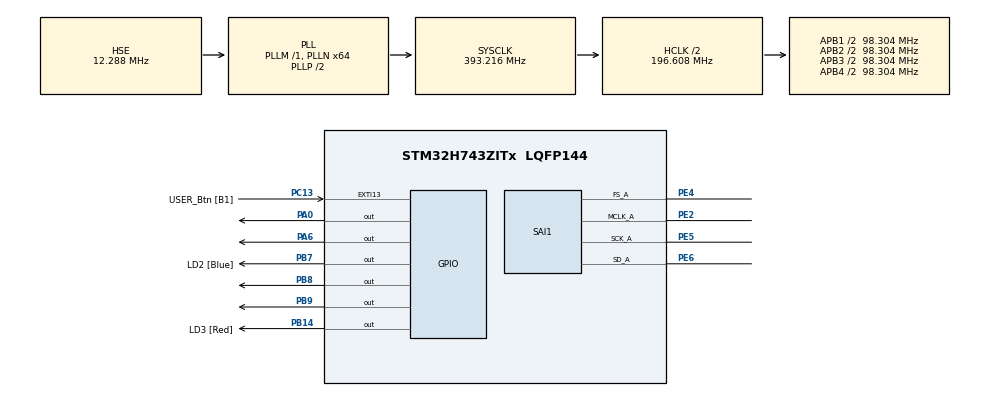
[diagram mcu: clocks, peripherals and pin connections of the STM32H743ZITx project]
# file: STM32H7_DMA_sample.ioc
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CORTEX_M7.CPU_DCache=Enabled
CORTEX_M7.CPU_ICache=Enabled
CORTEX_M7.MPU_Control=__NULL
Dma.Request0=SAI1_A
Dma.SAI1_A.0.Direction=DMA_MEMORY_TO_PERIPH
Dma.SAI1_A.0.EventEnable=DISABLE
Dma.SAI1_A.0.FIFOMode=DMA_FIFOMODE_ENABLE
Dma.SAI1_A.0.FIFOThreshold=DMA_FIFO_THRESHOLD_FULL
Dma.SAI1_A.0.Instance=DMA2_Stream6
Dma.SAI1_A.0.MemBurst=DMA_MBURST_SINGLE
Dma.SAI1_A.0.MemDataAlignment=DMA_MDATAALIGN_HALFWORD
Dma.SAI1_A.0.MemInc=DMA_MINC_ENABLE
Dma.SAI1_A.0.Mode=DMA_CIRCULAR
Dma.SAI1_A.0.PeriphBurst=DMA_PBURST_SINGLE
Dma.SAI1_A.0.PeriphDataAlignment=DMA_PDATAALIGN_HALFWORD
Dma.SAI1_A.0.PeriphInc=DMA_PINC_DISABLE
Dma.SAI1_A.0.Polarity=HAL_DMAMUX_REQ_GEN_RISING
Dma.SAI1_A.0.Priority=DMA_PRIORITY_VERY_HIGH
Dma.SAI1_A.0.RequestNumber=1
Dma.SAI1_A.0.SyncEnable=DISABLE
Dma.SAI1_A.0.SyncPolarity=HAL_DMAMUX_SYNC_NO_EVENT
Dma.SAI1_A.0.SyncRequestNumber=1
Mcu.Family=STM32H7
Mcu.Name=STM32H743ZITx
Mcu.Package=LQFP144
NVIC.DMA2_Stream6_IRQn=true\:0\:0\:true\:false\:true\:false
NVIC.PriorityGroup=NVIC_PRIORITYGROUP_2
NVIC.TIM7_IRQn=true\:0\:0\:true\:false\:true\:true
PA0-WKUP.Signal=GPIO_Output
PA10.GPIO_Label=USB_ID
PA10.Signal=USB_OTG_FS_ID
PA11.GPIO_Label=USB_DM
PA11.Signal=USB_OTG_FS_DM
PA12.GPIO_Label=USB_DP
PA12.Signal=USB_OTG_FS_DP
PA13.GPIO_Label=TMS
PA13.Mode=Trace_Asynchronous_SW
PA13.Signal=SYS_JTMS-SWDIO
PA14.GPIO_Label=TCK
PA14.Mode=Trace_Asynchronous_SW
PA14.Signal=SYS_JTCK-SWCLK
PA6.Signal=GPIO_Output
PA8.GPIO_Label=USB_SOF [TP1]
PA8.Signal=USB_OTG_FS_SOF
PA9.GPIO_Label=USB_VBUS
PA9.Signal=USB_OTG_FS_VBUS
PB14.GPIO_Label=LD3 [Red]
PB14.Signal=GPIO_Output
PB3.GPIO_Label=SWO
PB3.Mode=Trace_Asynchronous_SW
PB3.Signal=SYS_JTDO-SWO
PB7.GPIO_Label=LD2 [Blue]
PB7.Signal=GPIO_Output
PB8.Signal=GPIO_Output
PB9.Signal=GPIO_Output
PC13.GPIO_Label=USER_Btn [B1]
PC13.Signal=GPXTI13
PC14-OSC32_IN.Signal=RCC_OSC32_IN
PC15-OSC32_OUT.Signal=RCC_OSC32_OUT
PD8.Signal=USART3_TX
PD9.GPIO_Label=STLK_TX [STM32F103CBT6_PA2]
PD9.Signal=USART3_RX
PE2.GPIO_Speed=GPIO_SPEED_FREQ_VERY_HIGH
PE2.Mode=SAI_A_MasterWithClock
PE2.Signal=SAI1_MCLK_A
PE4.GPIO_Speed=GPIO_SPEED_FREQ_VERY_HIGH
PE4.Mode=SAI_A_MasterWithClock
PE4.Signal=SAI1_FS_A
PE5.GPIO_Speed=GPIO_SPEED_FREQ_VERY_HIGH
PE5.Mode=SAI_A_MasterWithClock
PE5.Signal=SAI1_SCK_A
PE6.GPIO_Speed=GPIO_SPEED_FREQ_VERY_HIGH
PE6.Mode=SAI_A_MasterWithClock
PE6.Signal=SAI1_SD_A
PH0-OSC_IN.GPIO_Label=MCO
PH0-OSC_IN.Mode=HSE-External-Oscillator
PH0-OSC_IN.Signal=RCC_OSC_IN
PH1-OSC_OUT.Mode=HSE-External-Oscillator
PH1-OSC_OUT.Signal=RCC_OSC_OUT
ProjectManager.HeapSize=0x200
ProjectManager.StackSize=0x400
ProjectManager.TargetToolchain=SW4STM32
RCC.48MHZClocksFreq_Value=24000000
RCC.ADCFreq_Value=98304000
RCC.AHBFreq_Value=16000000
RCC.APB1CLKDivider=RCC_HCLK_DIV2
RCC.APB1Freq_Value=98304000
RCC.APB1TimFreq_Value=16000000
RCC.APB2Freq_Value=98304000
RCC.APB2TimFreq_Value=16000000
RCC.APB3Freq_Value=98304000
RCC.APB4Freq_Value=98304000
RCC.CortexFreq_Value=393216000
RCC.D1PPRE=RCC_APB3_DIV2
RCC.D2PPRE1=RCC_APB1_DIV2
RCC.D2PPRE2=RCC_APB2_DIV2
RCC.D3PPRE=RCC_APB4_DIV2
RCC.DIVM1=1
RCC.DIVM2=1
RCC.DIVN1=64
RCC.DIVN2=16
RCC.HCLKFreq_Value=196608000
RCC.HPRE=RCC_HCLK_DIV2
RCC.HSE_VALUE=12288000
RCC.HSI_VALUE=64000000
RCC.LSE_VALUE=32768
RCC.PLLMUL=RCC_PLL_MUL9
RCC.PLLSourceVirtual=RCC_PLLSOURCE_HSE
RCC.PRESCALERUSB=RCC_USBCLKSOURCE_PLL_DIV1_5
RCC.SAI1CLockSelection=RCC_SAI1CLKSOURCE_PLL2
RCC.SPDIFEnable-ClockTree=true
RCC.SYSCLKFreq_VALUE=393216000
RCC.SYSCLKSource=RCC_SYSCLKSOURCE_PLLCLK
RCC.SYSCLKSourceVirtual=RCC_SYSCLKSOURCE_PLLCLK
RCC.USBFreq_Value=393216000
RCC.VCOOutputFreq_Value=192000000
SAI1.AudioFrequency-SAI_A_MasterWithClock=SAI_AUDIO_FREQUENCY_32K
SAI1.BasicDataSize-SAI_A_MasterWithClock=SAI_PROTOCOL_DATASIZE_16BITEXTENDED
SAI1.BasicProtocol-SAI_A_MasterWithClock=SAI_I2S_STANDARD
SAI1.BasicSlotNumber-SAI_A_MasterWithClock=2
SAI1.ErrorAudioFreq-SAI_A_MasterWithClock=-2.34 %
SAI1.FIFOThreshold-SAI_A_MasterWithClock=SAI_FIFOTHRESHOLD_FULL
SAI1.InitProtocol-SAI_A_MasterWithClock=Enable
SAI1.Instance-SAI_A_MasterWithClock=SAI$Index_Block_A
SAI1.MClockEnable-SAI_A_MasterWithClock=SAI_MASTERCLOCK_ENABLE
SAI1.OutputDrive-SAI_A_MasterWithClock=SAI_OUTPUTDRIVE_DISABLE
SAI1.RealAudioFreq-SAI_A_MasterWithClock=31.25 KHz
SAI1.Synchro-SAI_A_MasterWithClock=SAI_ASYNCHRONOUS
SAI1.VirtualMode-SAI_A_MasterWithClock=VM_MASTER
SAI1.VirtualProtocol-SAI_A_BASIC=VM_BASIC_PROTOCOL
TIM7.Period=63
TIM7.Prescaler=95
VP_SAI1_VP_$IpInstance_SAIA_SAI_BASIC.Mode=SAI_A_BASIC
VP_TIM7_VS_ClockSourceINT.Mode=Enable_Timer
board=NUCLEO-H743ZI

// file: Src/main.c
/**
  ******************************************************************************
  * File Name          : main.c
  * Description        : Main program body
  ******************************************************************************
  ** This notice applies to any and all portions of this file
  * that are not between comment pairs USER CODE BEGIN and
  * USER CODE END. Other portions of this file, whether
  * inserted by the user or by software development tools
  * are owned by their respective copyright owners.
  *
  * COPYRIGHT(c) 2017 STMicroelectronics
  *
  * Redistribution and use in source and binary forms, with or without modification,
  * are permitted provided that the following conditions are met:
  *   1. Redistributions of source code must retain the above copyright notice,
  *      this list of conditions and the following disclaimer.
  *   2. Redistributions in binary form must reproduce the above copyright notice,
  *      this list of conditions and the following disclaimer in the documentation
  *      and/or other materials provided with the distribution.
  *   3. Neither the name of STMicroelectronics nor the names of its contributors
  *      may be used to endorse or promote products derived from this software
  *      without specific prior written permission.
  *
  * THIS SOFTWARE IS PROVIDED BY THE COPYRIGHT HOLDERS AND CONTRIBUTORS "AS IS"
  * AND ANY EXPRESS OR IMPLIED WARRANTIES, INCLUDING, BUT NOT LIMITED TO, THE
  * IMPLIED WARRANTIES OF MERCHANTABILITY AND FITNESS FOR A PARTICULAR PURPOSE ARE
  * DISCLAIMED. IN NO EVENT SHALL THE COPYRIGHT HOLDER OR CONTRIBUTORS BE LIABLE
  * FOR ANY DIRECT, INDIRECT, INCIDENTAL, SPECIAL, EXEMPLARY, OR CONSEQUENTIAL
  * DAMAGES (INCLUDING, BUT NOT LIMITED TO, PROCUREMENT OF SUBSTITUTE GOODS OR
  * SERVICES; LOSS OF USE, DATA, OR PROFITS; OR BUSINESS INTERRUPTION) HOWEVER
  * CAUSED AND ON ANY THEORY OF LIABILITY, WHETHER IN CONTRACT, STRICT LIABILITY,
  * OR TORT (INCLUDING NEGLIGENCE OR OTHERWISE) ARISING IN ANY WAY OUT OF THE USE
  * OF THIS SOFTWARE, EVEN IF ADVISED OF THE POSSIBILITY OF SUCH DAMAGE.
  *
  ******************************************************************************
  */

#include "main.h"
#include "stm32h7xx_hal.h"

/* USER CODE BEGIN Includes */

#define __ATTR_RAM_D2	__attribute__ ((section(".RAM_D2"))) __attribute__ ((aligned (4)))

//for output buffer
#define BUFSIZE (128)  //need 2*n
#define SAMPLE_NUM (256)

/* USER CODE END Includes */

SAI_HandleTypeDef hsai_BlockA1;
DMA_HandleTypeDef hdma_sai1_a;

TIM_HandleTypeDef htim7;

/* USER CODE BEGIN PV */
/* Private variables ---------------------------------------------------------*/

const uint16_t SineTable[SAMPLE_NUM]
							={32768, 33572, 34376, 35178, 35980, 36779, 37576, 38370, 39161, 39947, 40730, 41507, 42280, 43046, 43807, 44561, 45307, 46047, 46778, 47500, 48214, 48919, 49614, 50298, 50972, 51636, 52287, 52927, 53555, 54171, 54773, 55362, 55938, 56499, 57047, 57579, 58097, 58600, 59087, 59558, 60013, 60451, 60873, 61278, 61666, 62036, 62389, 62724, 63041, 63339, 63620, 63881, 64124, 64348, 64553, 64739, 64905, 65053, 65180, 65289, 65377, 65446, 65496, 65525, 65535, 65525, 65496, 65446, 65377, 65289, 65180, 65053, 64905, 64739, 64553, 64348, 64124, 63881, 63620, 63339, 63041, 62724, 62389, 62036, 61666, 61278, 60873, 60451, 60013, 59558, 59087, 58600, 58097, 57579, 57047, 56499, 55938, 55362, 54773, 54171, 53555, 52927, 52287, 51636, 50972, 50298, 49614, 48919, 48214, 47500, 46778, 46047, 45307, 44561, 43807, 43046, 42280, 41507, 40730, 39947, 39161, 38370, 37576, 36779, 35980, 35178, 34376, 33572, 32768, 31964, 31160, 30358, 29556, 28757, 27960, 27166, 26375, 25589, 24806, 24029, 23256, 22490, 21729, 20975, 20229, 19489, 18758, 18036, 17322, 16617, 15922, 15238, 14564, 13900, 13249, 12609, 11981, 11365, 10763, 10174, 9598, 9037, 8489, 7957, 7439, 6936, 6449, 5978, 5523, 5085, 4663, 4258, 3870, 3500, 3147, 2812, 2495, 2197, 1916, 1655, 1412, 1188, 983, 797, 631, 483, 356, 247, 159, 90, 40, 11, 1, 11, 40, 90, 159, 247, 356, 483, 631, 797, 983, 1188, 1412, 1655, 1916, 2197, 2495, 2812, 3147, 3500, 3870, 4258, 4663, 5085, 5523, 5978, 6449, 6936, 7439, 7957, 8489, 9037, 9598, 10174, 10763, 11365, 11981, 12609, 13249, 13900, 14564, 15238, 15922, 16617, 17322, 18036, 18758, 19489, 20229, 20975, 21729, 22490, 23256, 24029, 24806, 25589, 26375, 27166, 27960, 28757, 29556, 30358, 31160, 31964, };
volatile uint32_t buffer_idx=0, table_idx=0;
uint16_t buffer[BUFSIZE * 2] __ATTR_RAM_D2;

/* USER CODE END PV */

void SystemClock_Config(void);
static void MX_GPIO_Init(void);
static void MX_DMA_Init(void);
static void MX_TIM7_Init(void);
static void MX_SAI1_Init(void);

/* USER CODE BEGIN PFP */
/* Private function prototypes -----------------------------------------------*/
void MPU_Conf();

/* USER CODE END PFP */

/* USER CODE BEGIN 0 */

void HAL_TIM_PeriodElapsedCallback(TIM_HandleTypeDef *htim)
{
	if(htim->Instance == TIM7)
	{
		//Update output buffer
		buffer[buffer_idx] = SineTable[table_idx] >> 1;	//right channel: output sine wave.
		buffer[buffer_idx+1] = 0; //left cahnnel :Mute.

		buffer_idx+=2;
		table_idx++;

		buffer_idx &= (BUFSIZE*2 -1);
		table_idx &= (SAMPLE_NUM - 1);

	}

}

/* USER CODE END 0 */

int main(void)
{

  /* USER CODE BEGIN 1 */

  //This is for DMA area protection from cache.
  MPU_Conf();

  /* USER CODE END 1 */

  /* Enable I-Cache-------------------------------------------------------------*/
  SCB_EnableICache();

  /* Enable D-Cache-------------------------------------------------------------*/
  SCB_EnableDCache();

  /* MCU Configuration----------------------------------------------------------*/

  /* Reset of all peripherals, Initializes the Flash interface and the Systick. */
  HAL_Init();

  /* Configure the system clock */
  SystemClock_Config();

  /* Initialize all configured peripherals */
  MX_GPIO_Init();
  MX_DMA_Init();
  MX_TIM7_Init();
  MX_SAI1_Init();

  /* USER CODE BEGIN 2 */

  //Init buffer

  for(uint16_t i=0; i<BUFSIZE * 2; i++){
	  buffer[i] = 0;
  }

  //start sound generate timer.
  HAL_TIM_Base_Start_IT(&htim7);

  while(1)
  {
	  if((buffer_idx) > ( BUFSIZE ) ){ // waiting for half-fill of buffer[].

		  if(HAL_OK != HAL_SAI_Transmit_DMA(&hsai_BlockA1, (uint8_t *)(buffer), BUFSIZE * 2))
		  {
			  Error_Handler();
		  }
		  break;
	  }
  }

  /* USER CODE END 2 */

  /* Infinite loop */
  while (1)
  {

  }

}

/** System Clock Configuration
*/
void SystemClock_Config(void)
{

  RCC_OscInitTypeDef RCC_OscInitStruct;
  RCC_ClkInitTypeDef RCC_ClkInitStruct;
  RCC_PeriphCLKInitTypeDef PeriphClkInitStruct;

    /**Supply configuration update enable
    */
  MODIFY_REG(PWR->CR3, PWR_CR3_SCUEN, 0);

    /**Configure the main internal regulator output voltage
    */
  __HAL_PWR_VOLTAGESCALING_CONFIG(PWR_REGULATOR_VOLTAGE_SCALE1);

  while ((PWR->D3CR & (PWR_D3CR_VOSRDY)) != PWR_D3CR_VOSRDY)
  {

  }
    /**Macro to configure the PLL clock source
    */
  __HAL_RCC_PLL_PLLSOURCE_CONFIG(RCC_PLLSOURCE_HSE);

    /**Initializes the CPU, AHB and APB busses clocks
    */
  RCC_OscInitStruct.OscillatorType = RCC_OSCILLATORTYPE_HSE;
  RCC_OscInitStruct.HSEState = RCC_HSE_ON;
  RCC_OscInitStruct.PLL.PLLState = RCC_PLL_ON;
  RCC_OscInitStruct.PLL.PLLSource = RCC_PLLSOURCE_HSE;
  RCC_OscInitStruct.PLL.PLLM = 1;
  RCC_OscInitStruct.PLL.PLLN = 64;
  RCC_OscInitStruct.PLL.PLLP = 2;
  RCC_OscInitStruct.PLL.PLLQ = 2;
  RCC_OscInitStruct.PLL.PLLR = 2;
  RCC_OscInitStruct.PLL.PLLRGE = RCC_PLL1VCIRANGE_3;
  RCC_OscInitStruct.PLL.PLLVCOSEL = RCC_PLL1VCOWIDE;
  RCC_OscInitStruct.PLL.PLLFRACN = 0;
  if (HAL_RCC_OscConfig(&RCC_OscInitStruct) != HAL_OK)
  {
    _Error_Handler(__FILE__, __LINE__);
  }

    /**Initializes the CPU, AHB and APB busses clocks
    */
  RCC_ClkInitStruct.ClockType = RCC_CLOCKTYPE_HCLK|RCC_CLOCKTYPE_SYSCLK
                              |RCC_CLOCKTYPE_PCLK1|RCC_CLOCKTYPE_PCLK2
                              |RCC_CLOCKTYPE_D3PCLK1|RCC_CLOCKTYPE_D1PCLK1;
  RCC_ClkInitStruct.SYSCLKSource = RCC_SYSCLKSOURCE_PLLCLK;
  RCC_ClkInitStruct.SYSCLKDivider = RCC_SYSCLK_DIV1;
  RCC_ClkInitStruct.AHBCLKDivider = RCC_HCLK_DIV2;
  RCC_ClkInitStruct.APB3CLKDivider = RCC_APB3_DIV2;
  RCC_ClkInitStruct.APB1CLKDivider = RCC_APB1_DIV2;
  RCC_ClkInitStruct.APB2CLKDivider = RCC_APB2_DIV2;
  RCC_ClkInitStruct.APB4CLKDivider = RCC_APB4_DIV2;

  if (HAL_RCC_ClockConfig(&RCC_ClkInitStruct, FLASH_LATENCY_2) != HAL_OK)
  {
    _Error_Handler(__FILE__, __LINE__);
  }

  PeriphClkInitStruct.PeriphClockSelection = RCC_PERIPHCLK_SAI1;
  PeriphClkInitStruct.PLL2.PLL2M = 1;
  PeriphClkInitStruct.PLL2.PLL2N = 16;
  PeriphClkInitStruct.PLL2.PLL2P = 2;
  PeriphClkInitStruct.PLL2.PLL2Q = 2;
  PeriphClkInitStruct.PLL2.PLL2R = 2;
  PeriphClkInitStruct.PLL2.PLL2RGE = RCC_PLL2VCIRANGE_3;
  PeriphClkInitStruct.PLL2.PLL2VCOSEL = RCC_PLL2VCOWIDE;
  PeriphClkInitStruct.PLL2.PLL2FRACN = 0;
  PeriphClkInitStruct.Sai1ClockSelection = RCC_SAI1CLKSOURCE_PLL2;
  if (HAL_RCCEx_PeriphCLKConfig(&PeriphClkInitStruct) != HAL_OK)
  {
    _Error_Handler(__FILE__, __LINE__);
  }

    /**Configure the Systick interrupt time
    */
  HAL_SYSTICK_Config(SystemCoreClock/1000);

    /**Configure the Systick
    */
  HAL_SYSTICK_CLKSourceConfig(SYSTICK_CLKSOURCE_HCLK);

  /* SysTick_IRQn interrupt configuration */
  HAL_NVIC_SetPriority(SysTick_IRQn, 0, 0);
}

/* SAI1 init function */
static void MX_SAI1_Init(void)
{

  hsai_BlockA1.Instance = SAI1_Block_A;
  hsai_BlockA1.Init.AudioMode = SAI_MODEMASTER_TX;
  hsai_BlockA1.Init.Synchro = SAI_ASYNCHRONOUS;
  hsai_BlockA1.Init.OutputDrive = SAI_OUTPUTDRIVE_DISABLE;
  hsai_BlockA1.Init.NoDivider = SAI_MASTERDIVIDER_ENABLE;
  hsai_BlockA1.Init.FIFOThreshold = SAI_FIFOTHRESHOLD_FULL;
  hsai_BlockA1.Init.AudioFrequency = SAI_AUDIO_FREQUENCY_32K;
  hsai_BlockA1.Init.SynchroExt = SAI_SYNCEXT_DISABLE;
  hsai_BlockA1.Init.MonoStereoMode = SAI_STEREOMODE;
  hsai_BlockA1.Init.CompandingMode = SAI_NOCOMPANDING;
  hsai_BlockA1.Init.TriState = SAI_OUTPUT_NOTRELEASED;
  if (HAL_SAI_InitProtocol(&hsai_BlockA1, SAI_I2S_STANDARD, SAI_PROTOCOL_DATASIZE_16BITEXTENDED, 2) != HAL_OK)
  {
    _Error_Handler(__FILE__, __LINE__);
  }

}

/* TIM7 init function */
static void MX_TIM7_Init(void)
{

  TIM_MasterConfigTypeDef sMasterConfig;

  htim7.Instance = TIM7;
  htim7.Init.Prescaler = 95;
  htim7.Init.CounterMode = TIM_COUNTERMODE_UP;
  htim7.Init.Period = 63;
  htim7.Init.AutoReloadPreload = TIM_AUTORELOAD_PRELOAD_DISABLE;
  if (HAL_TIM_Base_Init(&htim7) != HAL_OK)
  {
    _Error_Handler(__FILE__, __LINE__);
  }

  sMasterConfig.MasterOutputTrigger = TIM_TRGO_RESET;
  sMasterConfig.MasterSlaveMode = TIM_MASTERSLAVEMODE_DISABLE;
  if (HAL_TIMEx_MasterConfigSynchronization(&htim7, &sMasterConfig) != HAL_OK)
  {
    _Error_Handler(__FILE__, __LINE__);
  }

}

static void MX_DMA_Init(void)
{
  /* DMA controller clock enable */
  __HAL_RCC_DMA2_CLK_ENABLE();

  /* DMA interrupt init */
  /* DMA2_Stream6_IRQn interrupt configuration */
  HAL_NVIC_SetPriority(DMA2_Stream6_IRQn, 0, 0);
  HAL_NVIC_EnableIRQ(DMA2_Stream6_IRQn);

}

/** Configure pins as
        * Analog
        * Input
        * Output
        * EVENT_OUT
        * EXTI
     PD8   ------> USART3_TX
     PD9   ------> USART3_RX
     PA8   ------> USB_OTG_FS_SOF
     PA10   ------> USB_OTG_FS_ID
     PA11   ------> USB_OTG_FS_DM
     PA12   ------> USB_OTG_FS_DP
*/
static void MX_GPIO_Init(void)
{

  GPIO_InitTypeDef GPIO_InitStruct;

  /* GPIO Ports Clock Enable */
  __HAL_RCC_GPIOE_CLK_ENABLE();
  __HAL_RCC_GPIOC_CLK_ENABLE();
  __HAL_RCC_GPIOH_CLK_ENABLE();
  __HAL_RCC_GPIOA_CLK_ENABLE();
  __HAL_RCC_GPIOB_CLK_ENABLE();
  __HAL_RCC_GPIOD_CLK_ENABLE();

  /*Configure GPIO pin Output Level */
  HAL_GPIO_WritePin(GPIOA, GPIO_PIN_0|GPIO_PIN_6, GPIO_PIN_RESET);

  /*Configure GPIO pin Output Level */
  HAL_GPIO_WritePin(GPIOB, LD3_Pin|LD2_Pin|GPIO_PIN_8|GPIO_PIN_9, GPIO_PIN_RESET);

  /*Configure GPIO pin : USER_Btn_Pin */
  GPIO_InitStruct.Pin = USER_Btn_Pin;
  GPIO_InitStruct.Mode = GPIO_MODE_IT_RISING;
  GPIO_InitStruct.Pull = GPIO_NOPULL;
  HAL_GPIO_Init(USER_Btn_GPIO_Port, &GPIO_InitStruct);

  /*Configure GPIO pins : PA0 PA6 */
  GPIO_InitStruct.Pin = GPIO_PIN_0|GPIO_PIN_6;
  GPIO_InitStruct.Mode = GPIO_MODE_OUTPUT_PP;
  GPIO_InitStruct.Pull = GPIO_NOPULL;
  GPIO_InitStruct.Speed = GPIO_SPEED_FREQ_LOW;
  HAL_GPIO_Init(GPIOA, &GPIO_InitStruct);

  /*Configure GPIO pins : LD3_Pin LD2_Pin PB8 PB9 */
  GPIO_InitStruct.Pin = LD3_Pin|LD2_Pin|GPIO_PIN_8|GPIO_PIN_9;
  GPIO_InitStruct.Mode = GPIO_MODE_OUTPUT_PP;
  GPIO_InitStruct.Pull = GPIO_NOPULL;
  GPIO_InitStruct.Speed = GPIO_SPEED_FREQ_LOW;
  HAL_GPIO_Init(GPIOB, &GPIO_InitStruct);

  /*Configure GPIO pins : PD8 STLK_TX_Pin */
  GPIO_InitStruct.Pin = GPIO_PIN_8|STLK_TX_Pin;
  GPIO_InitStruct.Mode = GPIO_MODE_AF_PP;
  GPIO_InitStruct.Pull = GPIO_NOPULL;
  GPIO_InitStruct.Speed = GPIO_SPEED_FREQ_LOW;
  GPIO_InitStruct.Alternate = GPIO_AF7_USART3;
  HAL_GPIO_Init(GPIOD, &GPIO_InitStruct);

  /*Configure GPIO pins : USB_SOF_Pin USB_ID_Pin USB_DM_Pin USB_DP_Pin */
  GPIO_InitStruct.Pin = USB_SOF_Pin|USB_ID_Pin|USB_DM_Pin|USB_DP_Pin;
  GPIO_InitStruct.Mode = GPIO_MODE_AF_PP;
  GPIO_InitStruct.Pull = GPIO_NOPULL;
  GPIO_InitStruct.Speed = GPIO_SPEED_FREQ_LOW;
  GPIO_InitStruct.Alternate = GPIO_AF10_OTG1_FS;
  HAL_GPIO_Init(GPIOA, &GPIO_InitStruct);

}

/* USER CODE BEGIN 4 */

void MPU_Conf()
{
	  MPU_Region_InitTypeDef MPU_InitStruct;

	  /* MPUを無効にする*/
	  HAL_MPU_Disable();

	  /* MPUの属性を設定 */

	  //下記の設定を有効にする。
	  MPU_InitStruct.Enable = MPU_REGION_ENABLE;

	  //D2 DomainのSRAM1領域(0x3000 0000～)から512バイト(バッファサイズ分)を対象とする
	  MPU_InitStruct.BaseAddress = 0x30000000;
	  MPU_InitStruct.Size = MPU_REGION_SIZE_512B;

	  //アクセス制限の必要はないので、Full accessとする
	  MPU_InitStruct.AccessPermission = MPU_REGION_FULL_ACCESS;

	  //AN4838のP10の記述に従う。
	  //ライトスルーモードにする場合は次の通り
	  MPU_InitStruct.TypeExtField = MPU_TEX_LEVEL0;
	  MPU_InitStruct.IsCacheable = MPU_ACCESS_CACHEABLE;
	  MPU_InitStruct.IsBufferable = MPU_ACCESS_NOT_BUFFERABLE;
	  MPU_InitStruct.IsShareable = MPU_ACCESS_SHAREABLE;

	  //Shared Deviceとして設定する場合は次の通り
//	  MPU_InitStruct.TypeExtField = MPU_TEX_LEVEL0;
//	  MPU_InitStruct.IsCacheable = MPU_ACCESS_NOT_CACHEABLE;
//	  MPU_InitStruct.IsBufferable = MPU_ACCESS_BUFFERABLE;
//	  MPU_InitStruct.IsShareable = MPU_ACCESS_SHAREABLE;

	  //リージョンナンバを設定する。(設定を一意に識別する番号)
	  MPU_InitStruct.Number = MPU_REGION_NUMBER0;

	  //サブリージョンを有効にする(今回は関係ない)
	  MPU_InitStruct.SubRegionDisable = 0x00;

	  //対象領域からコードを実行できるようにする(今回は関係ない)
	  MPU_InitStruct.DisableExec = MPU_INSTRUCTION_ACCESS_ENABLE;

	  /* 設定を反映する */
	  HAL_MPU_ConfigRegion(&MPU_InitStruct);

	  /* MPUを有効にする */
	  HAL_MPU_Enable(MPU_PRIVILEGED_DEFAULT);
}

/* USER CODE END 4 */

void _Error_Handler(char * file, int line)
{
  while(1)
  {
  }
}

/************************ (C) COPYRIGHT STMicroelectronics *****END OF FILE****/
